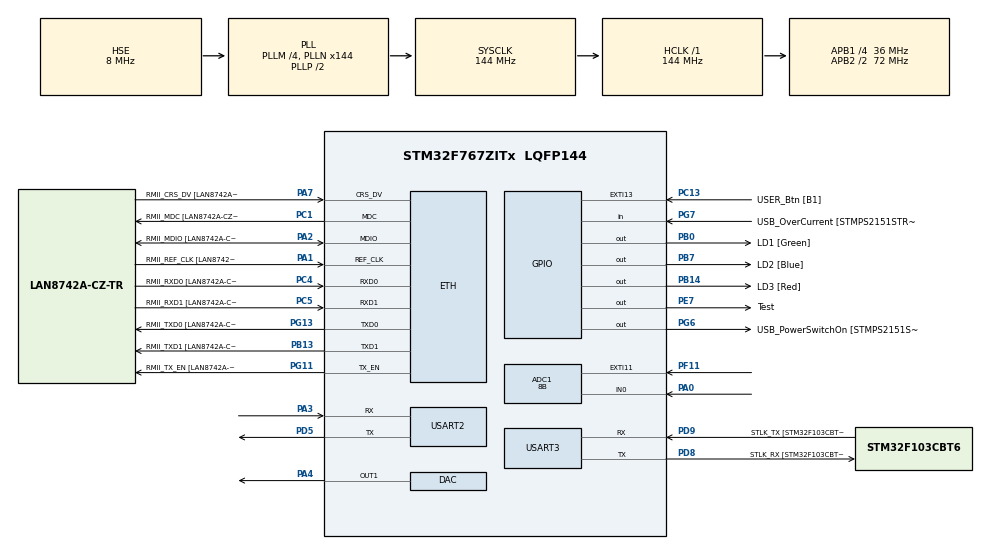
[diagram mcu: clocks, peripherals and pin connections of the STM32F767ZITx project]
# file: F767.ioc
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ADC1.Channel-0\#ChannelRegularConversion=ADC_CHANNEL_0
ADC1.ContinuousConvMode=DISABLE
ADC1.DMAContinuousRequests=ENABLE
ADC1.EOCSelection=ADC_EOC_SEQ_CONV
ADC1.ExternalTrigConv=ADC_EXTERNALTRIGCONV_T5_TRGO
ADC1.NbrOfConversion=1
ADC1.NbrOfConversionFlag=1
ADC1.Rank-0\#ChannelRegularConversion=1
ADC1.Resolution=ADC_RESOLUTION_8B
ADC1.SamplingTime-0\#ChannelRegularConversion=ADC_SAMPLETIME_3CYCLES
ADC1.ScanConvMode=ADC_SCAN_DISABLE
ADC1.master=1
Dma.ADC1.0.Direction=DMA_PERIPH_TO_MEMORY
Dma.ADC1.0.FIFOMode=DMA_FIFOMODE_DISABLE
Dma.ADC1.0.Instance=DMA2_Stream0
Dma.ADC1.0.MemDataAlignment=DMA_MDATAALIGN_HALFWORD
Dma.ADC1.0.MemInc=DMA_MINC_ENABLE
Dma.ADC1.0.Mode=DMA_CIRCULAR
Dma.ADC1.0.PeriphDataAlignment=DMA_PDATAALIGN_HALFWORD
Dma.ADC1.0.PeriphInc=DMA_PINC_DISABLE
Dma.ADC1.0.Priority=DMA_PRIORITY_MEDIUM
Dma.DAC1.1.Direction=DMA_MEMORY_TO_PERIPH
Dma.DAC1.1.FIFOMode=DMA_FIFOMODE_DISABLE
Dma.DAC1.1.Instance=DMA1_Stream5
Dma.DAC1.1.MemDataAlignment=DMA_MDATAALIGN_HALFWORD
Dma.DAC1.1.MemInc=DMA_MINC_ENABLE
Dma.DAC1.1.Mode=DMA_CIRCULAR
Dma.DAC1.1.PeriphDataAlignment=DMA_PDATAALIGN_HALFWORD
Dma.DAC1.1.PeriphInc=DMA_PINC_DISABLE
Dma.DAC1.1.Priority=DMA_PRIORITY_LOW
Dma.Request0=ADC1
Dma.Request1=DAC1
ETH.ETH_TX_DESC_CNT=12
ETH.MediaInterface=HAL_ETH_RMII_MODE
ETH.PHY_Name=LAN8742A_PHY_ADDRESS
ETH.PHY_Value=0
ETH.PhyAddress=0
ETH.RxMode=ETH_RXPOLLING_MODE
LWIP.BSP.number=1
LWIP.IP_ADDRESS=192.168.010.002
LWIP.LWIP_DHCP=0
LWIP.LWIP_TCP=0
LWIP.MEMP_NUM_TCP_PCB=0
LWIP.MEMP_NUM_UDP_PCB=1
LWIP.NETMASK_ADDRESS=255.255.255.000
LWIP.Version=v2.1.2_Cube
LWIP0.BSP.STBoard=false
LWIP0.BSP.api=BSP_COMPONENT_DRIVER
LWIP0.BSP.component=LAN8742
LWIP0.BSP.instance=LAN8742
LWIP0.BSP.name=Driver_PHY
LWIP0.BSP.semaphore=S_LAN8742
LWIP0.BSP.solution=LAN8742
Mcu.Family=STM32F7
Mcu.Name=STM32F767ZITx
Mcu.Package=LQFP144
NVIC.DMA1_Stream5_IRQn=true\:0\:0\:false\:false\:true\:false\:true\:true
NVIC.DMA2_Stream0_IRQn=true\:0\:0\:false\:false\:true\:false\:true\:true
NVIC.ETH_IRQn=true\:4\:0\:true\:false\:true\:true\:true\:true
NVIC.EXTI15_10_IRQn=true\:3\:0\:true\:false\:true\:true\:true\:true
NVIC.PriorityGroup=NVIC_PRIORITYGROUP_4
NVIC.TIM3_IRQn=true\:1\:0\:true\:false\:true\:true\:true\:true
PA0/WKUP.Signal=ADCx_IN0
PA1.GPIO_Label=RMII_REF_CLK [LAN8742A-CZ-TR_REFCLK0]
PA1.Mode=RMII
PA1.Signal=ETH_REF_CLK
PA10.GPIO_Label=USB_ID
PA10.Signal=USB_OTG_FS_ID
PA11.GPIO_Label=USB_DM
PA11.Signal=USB_OTG_FS_DM
PA12.GPIO_Label=USB_DP
PA12.Signal=USB_OTG_FS_DP
PA13.GPIO_Label=TMS
PA13.Mode=Serial_Wire
PA13.Signal=SYS_JTMS-SWDIO
PA14.GPIO_Label=TCK
PA14.Mode=Serial_Wire
PA14.Signal=SYS_JTCK-SWCLK
PA2.GPIO_Label=RMII_MDIO [LAN8742A-CZ-TR_MDIO]
PA2.Mode=RMII
PA2.Signal=ETH_MDIO
PA3.Mode=Asynchronous
PA3.Signal=USART2_RX
PA4.Signal=COMP_DAC1_group
PA7.GPIO_Label=RMII_CRS_DV [LAN8742A-CZ-TR_CRS_DV]
PA7.Mode=RMII
PA7.Signal=ETH_CRS_DV
PA8.GPIO_Label=USB_SOF [TP1]
PA8.Signal=USB_OTG_FS_SOF
PA9.GPIO_Label=USB_VBUS
PA9.Signal=USB_OTG_FS_VBUS
PB0.GPIO_Label=LD1 [Green]
PB0.Signal=GPIO_Output
PB13.GPIO_Label=RMII_TXD1 [LAN8742A-CZ-TR_TXD1]
PB13.Mode=RMII
PB13.Signal=ETH_TXD1
PB14.GPIO_Label=LD3 [Red]
PB14.Signal=GPIO_Output
PB3.GPIO_Label=SWO
PB3.Signal=SYS_JTDO-SWO
PB7.GPIO_Label=LD2 [Blue]
PB7.Signal=GPIO_Output
PC1.GPIO_Label=RMII_MDC [LAN8742A-CZ-TR_MDC]
PC1.Mode=RMII
PC1.Signal=ETH_MDC
PC13.GPIO_Label=USER_Btn [B1]
PC13.Signal=GPXTI13
PC14/OSC32_IN.Mode=LSE-External-Oscillator
PC14/OSC32_IN.Signal=RCC_OSC32_IN
PC15/OSC32_OUT.Mode=LSE-External-Oscillator
PC15/OSC32_OUT.Signal=RCC_OSC32_OUT
PC4.GPIO_Label=RMII_RXD0 [LAN8742A-CZ-TR_RXD0]
PC4.Mode=RMII
PC4.Signal=ETH_RXD0
PC5.GPIO_Label=RMII_RXD1 [LAN8742A-CZ-TR_RXD1]
PC5.Mode=RMII
PC5.Signal=ETH_RXD1
PD5.Mode=Asynchronous
PD5.Signal=USART2_TX
PD8.GPIO_Label=STLK_RX [STM32F103CBT6_PA3]
PD8.Mode=Asynchronous
PD8.Signal=USART3_TX
PD9.GPIO_Label=STLK_TX [STM32F103CBT6_PA2]
PD9.Mode=Asynchronous
PD9.Signal=USART3_RX
PE7.GPIO_Label=Test
PE7.GPIO_Speed=GPIO_SPEED_FREQ_VERY_HIGH
PE7.PinState=GPIO_PIN_SET
PE7.Signal=GPIO_Output
PF11.Signal=GPXTI11
PG11.GPIO_Label=RMII_TX_EN [LAN8742A-CZ-TR_TXEN]
PG11.Mode=RMII
PG11.Signal=ETH_TX_EN
PG13.GPIO_Label=RMII_TXD0 [LAN8742A-CZ-TR_TXD0]
PG13.Mode=RMII
PG13.Signal=ETH_TXD0
PG6.GPIO_Label=USB_PowerSwitchOn [STMPS2151STR_EN]
PG6.Signal=GPIO_Output
PG7.GPIO_Label=USB_OverCurrent [STMPS2151STR_FAULT]
PG7.Signal=GPIO_Input
PH0/OSC_IN.GPIO_Label=MCO [STM32F103CBT6_PA8]
PH0/OSC_IN.Mode=HSE-External-Clock-Source
PH0/OSC_IN.Signal=RCC_OSC_IN
PH1/OSC_OUT.Mode=HSE-External-Clock-Source
PH1/OSC_OUT.Signal=RCC_OSC_OUT
ProjectManager.HeapSize=0x200
ProjectManager.StackSize=0x400
ProjectManager.TargetToolchain=CMake
RCC.48MHZClocksFreq_Value=24000000
RCC.AHBFreq_Value=144000000
RCC.APB1CLKDivider=RCC_HCLK_DIV4
RCC.APB1Freq_Value=36000000
RCC.APB1TimFreq_Value=72000000
RCC.APB2CLKDivider=RCC_HCLK_DIV2
RCC.APB2Freq_Value=72000000
RCC.APB2TimFreq_Value=144000000
RCC.CortexFreq_Value=144000000
RCC.HCLKFreq_Value=144000000
RCC.HSE_VALUE=8000000
RCC.HSI_VALUE=16000000
RCC.PLLM=4
RCC.PLLMUL=RCC_PLL_MUL9
RCC.PLLN=144
RCC.PLLQ=9
RCC.PLLSourceVirtual=RCC_PLLSOURCE_HSE
RCC.PRESCALERUSB=RCC_USBCLKSOURCE_PLL_DIV1_5
RCC.SYSCLKFreq_VALUE=144000000
RCC.SYSCLKSource=RCC_SYSCLKSOURCE_PLLCLK
RCC.SYSCLKSourceVirtual=RCC_SYSCLKSOURCE_PLLCLK
RCC.USBFreq_Value=32000000
RCC.VCOOutputFreq_Value=288000000
SH.ADCx_IN0.0=ADC1_IN0,IN0
SH.COMP_DAC1_group.0=DAC_OUT1,DAC_OUT1
TIM3.Period=23999
TIM5.AutoReloadPreload=TIM_AUTORELOAD_PRELOAD_ENABLE
TIM5.Period=56
TIM5.TIM_MasterOutputTrigger=TIM_TRGO_UPDATE
TIM5.TIM_MasterSlaveMode=TIM_MASTERSLAVEMODE_ENABLE
USART2.VirtualMode-Asynchronous=VM_ASYNC
USART3.VirtualMode-Asynchronous=VM_ASYNC
VP_LWIP_VS_Enabled.Mode=Enabled
VP_TIM3_VS_ClockSourceINT.Mode=Internal
VP_TIM5_VS_ClockSourceINT.Mode=Internal
board=NUCLEO-F767ZI

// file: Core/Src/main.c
/* USER CODE BEGIN Header */
/**
  ******************************************************************************
  * @file           : main.c
  * @brief          : Main program body
  ******************************************************************************
  * @attention
  *
  * Copyright (c) 2025 STMicroelectronics.
  * All rights reserved.
  *
  * This software is licensed under terms that can be found in the LICENSE file
  * in the root directory of this software component.
  * If no LICENSE file comes with this software, it is provided AS-IS.
  *
  ******************************************************************************
  */
/* USER CODE END Header */
#include "main.h"
#include "lwip.h"

/* USER CODE BEGIN Includes */
#include "stm32f7xx_hal.h"
#include "stm32f7xx_hal_eth.h"
#include "stm32f7xx_hal_gpio.h"
#include "stm32f7xx_hal_tim.h"
#include "stm32f7xx_hal_tim_ex.h"
#include "string.h"
#include <stdio.h>

#include "user.hh"
/* USER CODE END Includes */

/* USER CODE BEGIN PD */
enum
{
  kAdcDmaChannels = 1,
  kAdcDmaSamplesPerChannel = 256,
  kAdcDmaHalfSamples = kAdcDmaChannels * kAdcDmaSamplesPerChannel,
  kAdcDmaSamples = kAdcDmaHalfSamples * 2
};

/* USER CODE END PD */

ADC_HandleTypeDef hadc1;
DMA_HandleTypeDef hdma_adc1;

DAC_HandleTypeDef hdac;
DMA_HandleTypeDef hdma_dac1;

TIM_HandleTypeDef htim3;
TIM_HandleTypeDef htim5;

UART_HandleTypeDef huart2;
UART_HandleTypeDef huart3;

/* USER CODE BEGIN PV */
static uint16_t g_adc_dma_buffer[kAdcDmaSamples];

/* USER CODE END PV */

void SystemClock_Config(void);
static void MX_GPIO_Init(void);
static void MX_DMA_Init(void);
static void MX_USART3_UART_Init(void);
static void MX_ADC1_Init(void);
static void MX_TIM5_Init(void);
static void MX_TIM3_Init(void);
static void MX_DAC_Init(void);
static void MX_USART2_UART_Init(void);

int main(void)
{

  /* MCU Configuration--------------------------------------------------------*/

  /* Reset of all peripherals, Initializes the Flash interface and the Systick. */
  HAL_Init();

  /* Configure the system clock */
  SystemClock_Config();

  /* Initialize all configured peripherals */
  MX_GPIO_Init();
  MX_DMA_Init();
  MX_USART3_UART_Init();
  MX_ADC1_Init();
  MX_TIM5_Init();
  MX_LWIP_Init();
  MX_TIM3_Init();
  MX_DAC_Init();
  MX_USART2_UART_Init();
  /* USER CODE BEGIN 2 */
  UserCppInit(g_adc_dma_buffer, kAdcDmaSamples);

  /* USER CODE END 2 */

  /* Infinite loop */
  /* USER CODE BEGIN WHILE */
  while (1)
  {
    MX_LWIP_Process();
    UserCppProcess();

    /* USER CODE END WHILE */

  }
}

void SystemClock_Config(void)
{
  RCC_OscInitTypeDef RCC_OscInitStruct = {0};
  RCC_ClkInitTypeDef RCC_ClkInitStruct = {0};

  /** Configure LSE Drive Capability
  */
  HAL_PWR_EnableBkUpAccess();

  /** Configure the main internal regulator output voltage
  */
  __HAL_RCC_PWR_CLK_ENABLE();
  __HAL_PWR_VOLTAGESCALING_CONFIG(PWR_REGULATOR_VOLTAGE_SCALE3);

  /** Initializes the RCC Oscillators according to the specified parameters
  * in the RCC_OscInitTypeDef structure.
  */
  RCC_OscInitStruct.OscillatorType = RCC_OSCILLATORTYPE_HSE;
  RCC_OscInitStruct.HSEState = RCC_HSE_BYPASS;
  RCC_OscInitStruct.PLL.PLLState = RCC_PLL_ON;
  RCC_OscInitStruct.PLL.PLLSource = RCC_PLLSOURCE_HSE;
  RCC_OscInitStruct.PLL.PLLM = 4;
  RCC_OscInitStruct.PLL.PLLN = 144;
  RCC_OscInitStruct.PLL.PLLP = RCC_PLLP_DIV2;
  RCC_OscInitStruct.PLL.PLLQ = 9;
  RCC_OscInitStruct.PLL.PLLR = 2;
  if (HAL_RCC_OscConfig(&RCC_OscInitStruct) != HAL_OK)
  {
    Error_Handler();
  }

  /** Initializes the CPU, AHB and APB buses clocks
  */
  RCC_ClkInitStruct.ClockType = RCC_CLOCKTYPE_HCLK|RCC_CLOCKTYPE_SYSCLK
                              |RCC_CLOCKTYPE_PCLK1|RCC_CLOCKTYPE_PCLK2;
  RCC_ClkInitStruct.SYSCLKSource = RCC_SYSCLKSOURCE_PLLCLK;
  RCC_ClkInitStruct.AHBCLKDivider = RCC_SYSCLK_DIV1;
  RCC_ClkInitStruct.APB1CLKDivider = RCC_HCLK_DIV4;
  RCC_ClkInitStruct.APB2CLKDivider = RCC_HCLK_DIV2;

  if (HAL_RCC_ClockConfig(&RCC_ClkInitStruct, FLASH_LATENCY_4) != HAL_OK)
  {
    Error_Handler();
  }
}

static void MX_ADC1_Init(void)
{

  ADC_ChannelConfTypeDef sConfig = {0};

  /** Configure the global features of the ADC (Clock, Resolution, Data Alignment and number of conversion)
  */
  hadc1.Instance = ADC1;
  hadc1.Init.ClockPrescaler = ADC_CLOCK_SYNC_PCLK_DIV2;
  hadc1.Init.Resolution = ADC_RESOLUTION_8B;
  hadc1.Init.ScanConvMode = ADC_SCAN_DISABLE;
  hadc1.Init.ContinuousConvMode = DISABLE;
  hadc1.Init.DiscontinuousConvMode = DISABLE;
  hadc1.Init.ExternalTrigConvEdge = ADC_EXTERNALTRIGCONVEDGE_RISING;
  hadc1.Init.ExternalTrigConv = ADC_EXTERNALTRIGCONV_T5_TRGO;
  hadc1.Init.DataAlign = ADC_DATAALIGN_RIGHT;
  hadc1.Init.NbrOfConversion = 1;
  hadc1.Init.DMAContinuousRequests = ENABLE;
  hadc1.Init.EOCSelection = ADC_EOC_SEQ_CONV;
  if (HAL_ADC_Init(&hadc1) != HAL_OK)
  {
    Error_Handler();
  }

  /** Configure for the selected ADC regular channel its corresponding rank in the sequencer and its sample time.
  */
  sConfig.Channel = ADC_CHANNEL_0;
  sConfig.Rank = ADC_REGULAR_RANK_1;
  sConfig.SamplingTime = ADC_SAMPLETIME_3CYCLES;
  if (HAL_ADC_ConfigChannel(&hadc1, &sConfig) != HAL_OK)
  {
    Error_Handler();
  }

}

static void MX_DAC_Init(void)
{

  DAC_ChannelConfTypeDef sConfig = {0};

  /** DAC Initialization
  */
  hdac.Instance = DAC;
  if (HAL_DAC_Init(&hdac) != HAL_OK)
  {
    Error_Handler();
  }

  /** DAC channel OUT1 config
  */
  sConfig.DAC_Trigger = DAC_TRIGGER_NONE;
  sConfig.DAC_OutputBuffer = DAC_OUTPUTBUFFER_ENABLE;
  if (HAL_DAC_ConfigChannel(&hdac, &sConfig, DAC_CHANNEL_1) != HAL_OK)
  {
    Error_Handler();
  }

}

static void MX_TIM3_Init(void)
{

  TIM_ClockConfigTypeDef sClockSourceConfig = {0};
  TIM_MasterConfigTypeDef sMasterConfig = {0};

  htim3.Instance = TIM3;
  htim3.Init.Prescaler = 0;
  htim3.Init.CounterMode = TIM_COUNTERMODE_UP;
  htim3.Init.Period = 23999;
  htim3.Init.ClockDivision = TIM_CLOCKDIVISION_DIV1;
  htim3.Init.AutoReloadPreload = TIM_AUTORELOAD_PRELOAD_DISABLE;
  if (HAL_TIM_Base_Init(&htim3) != HAL_OK)
  {
    Error_Handler();
  }
  sClockSourceConfig.ClockSource = TIM_CLOCKSOURCE_INTERNAL;
  if (HAL_TIM_ConfigClockSource(&htim3, &sClockSourceConfig) != HAL_OK)
  {
    Error_Handler();
  }
  sMasterConfig.MasterOutputTrigger = TIM_TRGO_RESET;
  sMasterConfig.MasterSlaveMode = TIM_MASTERSLAVEMODE_DISABLE;
  if (HAL_TIMEx_MasterConfigSynchronization(&htim3, &sMasterConfig) != HAL_OK)
  {
    Error_Handler();
  }

}

static void MX_TIM5_Init(void)
{

  TIM_ClockConfigTypeDef sClockSourceConfig = {0};
  TIM_MasterConfigTypeDef sMasterConfig = {0};

  htim5.Instance = TIM5;
  htim5.Init.Prescaler = 0;
  htim5.Init.CounterMode = TIM_COUNTERMODE_UP;
  htim5.Init.Period = 56;
  htim5.Init.ClockDivision = TIM_CLOCKDIVISION_DIV1;
  htim5.Init.AutoReloadPreload = TIM_AUTORELOAD_PRELOAD_ENABLE;
  if (HAL_TIM_Base_Init(&htim5) != HAL_OK)
  {
    Error_Handler();
  }
  sClockSourceConfig.ClockSource = TIM_CLOCKSOURCE_INTERNAL;
  if (HAL_TIM_ConfigClockSource(&htim5, &sClockSourceConfig) != HAL_OK)
  {
    Error_Handler();
  }
  sMasterConfig.MasterOutputTrigger = TIM_TRGO_UPDATE;
  sMasterConfig.MasterSlaveMode = TIM_MASTERSLAVEMODE_ENABLE;
  if (HAL_TIMEx_MasterConfigSynchronization(&htim5, &sMasterConfig) != HAL_OK)
  {
    Error_Handler();
  }

}

static void MX_USART2_UART_Init(void)
{

  huart2.Instance = USART2;
  huart2.Init.BaudRate = 115200;
  huart2.Init.WordLength = UART_WORDLENGTH_8B;
  huart2.Init.StopBits = UART_STOPBITS_1;
  huart2.Init.Parity = UART_PARITY_NONE;
  huart2.Init.Mode = UART_MODE_TX_RX;
  huart2.Init.HwFlowCtl = UART_HWCONTROL_NONE;
  huart2.Init.OverSampling = UART_OVERSAMPLING_16;
  huart2.Init.OneBitSampling = UART_ONE_BIT_SAMPLE_DISABLE;
  huart2.AdvancedInit.AdvFeatureInit = UART_ADVFEATURE_NO_INIT;
  if (HAL_UART_Init(&huart2) != HAL_OK)
  {
    Error_Handler();
  }

}

static void MX_USART3_UART_Init(void)
{

  huart3.Instance = USART3;
  huart3.Init.BaudRate = 115200;
  huart3.Init.WordLength = UART_WORDLENGTH_8B;
  huart3.Init.StopBits = UART_STOPBITS_1;
  huart3.Init.Parity = UART_PARITY_NONE;
  huart3.Init.Mode = UART_MODE_TX_RX;
  huart3.Init.HwFlowCtl = UART_HWCONTROL_NONE;
  huart3.Init.OverSampling = UART_OVERSAMPLING_16;
  huart3.Init.OneBitSampling = UART_ONE_BIT_SAMPLE_DISABLE;
  huart3.AdvancedInit.AdvFeatureInit = UART_ADVFEATURE_NO_INIT;
  if (HAL_UART_Init(&huart3) != HAL_OK)
  {
    Error_Handler();
  }

}

static void MX_DMA_Init(void)
{

  /* DMA controller clock enable */
  __HAL_RCC_DMA2_CLK_ENABLE();
  __HAL_RCC_DMA1_CLK_ENABLE();

  /* DMA interrupt init */
  /* DMA1_Stream5_IRQn interrupt configuration */
  HAL_NVIC_SetPriority(DMA1_Stream5_IRQn, 0, 0);
  HAL_NVIC_EnableIRQ(DMA1_Stream5_IRQn);
  /* DMA2_Stream0_IRQn interrupt configuration */
  HAL_NVIC_SetPriority(DMA2_Stream0_IRQn, 0, 0);
  HAL_NVIC_EnableIRQ(DMA2_Stream0_IRQn);

}

static void MX_GPIO_Init(void)
{
  GPIO_InitTypeDef GPIO_InitStruct = {0};

  /* GPIO Ports Clock Enable */
  __HAL_RCC_GPIOC_CLK_ENABLE();
  __HAL_RCC_GPIOH_CLK_ENABLE();
  __HAL_RCC_GPIOA_CLK_ENABLE();
  __HAL_RCC_GPIOB_CLK_ENABLE();
  __HAL_RCC_GPIOF_CLK_ENABLE();
  __HAL_RCC_GPIOE_CLK_ENABLE();
  __HAL_RCC_GPIOD_CLK_ENABLE();
  __HAL_RCC_GPIOG_CLK_ENABLE();

  /*Configure GPIO pin Output Level */
  HAL_GPIO_WritePin(GPIOB, LD1_Pin|LD3_Pin|LD2_Pin, GPIO_PIN_RESET);

  /*Configure GPIO pin Output Level */
  HAL_GPIO_WritePin(Test_GPIO_Port, Test_Pin, GPIO_PIN_SET);

  /*Configure GPIO pin Output Level */
  HAL_GPIO_WritePin(USB_PowerSwitchOn_GPIO_Port, USB_PowerSwitchOn_Pin, GPIO_PIN_RESET);

  /*Configure GPIO pin : USER_Btn_Pin */
  GPIO_InitStruct.Pin = USER_Btn_Pin;
  GPIO_InitStruct.Mode = GPIO_MODE_IT_RISING;
  GPIO_InitStruct.Pull = GPIO_NOPULL;
  HAL_GPIO_Init(USER_Btn_GPIO_Port, &GPIO_InitStruct);

  /*Configure GPIO pins : LD1_Pin LD3_Pin LD2_Pin */
  GPIO_InitStruct.Pin = LD1_Pin|LD3_Pin|LD2_Pin;
  GPIO_InitStruct.Mode = GPIO_MODE_OUTPUT_PP;
  GPIO_InitStruct.Pull = GPIO_NOPULL;
  GPIO_InitStruct.Speed = GPIO_SPEED_FREQ_LOW;
  HAL_GPIO_Init(GPIOB, &GPIO_InitStruct);

  /*Configure GPIO pin : PF11 */
  GPIO_InitStruct.Pin = GPIO_PIN_11;
  GPIO_InitStruct.Mode = GPIO_MODE_IT_RISING;
  GPIO_InitStruct.Pull = GPIO_NOPULL;
  HAL_GPIO_Init(GPIOF, &GPIO_InitStruct);

  /*Configure GPIO pin : Test_Pin */
  GPIO_InitStruct.Pin = Test_Pin;
  GPIO_InitStruct.Mode = GPIO_MODE_OUTPUT_PP;
  GPIO_InitStruct.Pull = GPIO_NOPULL;
  GPIO_InitStruct.Speed = GPIO_SPEED_FREQ_VERY_HIGH;
  HAL_GPIO_Init(Test_GPIO_Port, &GPIO_InitStruct);

  /*Configure GPIO pin : USB_PowerSwitchOn_Pin */
  GPIO_InitStruct.Pin = USB_PowerSwitchOn_Pin;
  GPIO_InitStruct.Mode = GPIO_MODE_OUTPUT_PP;
  GPIO_InitStruct.Pull = GPIO_NOPULL;
  GPIO_InitStruct.Speed = GPIO_SPEED_FREQ_LOW;
  HAL_GPIO_Init(USB_PowerSwitchOn_GPIO_Port, &GPIO_InitStruct);

  /*Configure GPIO pin : USB_OverCurrent_Pin */
  GPIO_InitStruct.Pin = USB_OverCurrent_Pin;
  GPIO_InitStruct.Mode = GPIO_MODE_INPUT;
  GPIO_InitStruct.Pull = GPIO_NOPULL;
  HAL_GPIO_Init(USB_OverCurrent_GPIO_Port, &GPIO_InitStruct);

  /*Configure GPIO pins : USB_SOF_Pin USB_ID_Pin USB_DM_Pin USB_DP_Pin */
  GPIO_InitStruct.Pin = USB_SOF_Pin|USB_ID_Pin|USB_DM_Pin|USB_DP_Pin;
  GPIO_InitStruct.Mode = GPIO_MODE_AF_PP;
  GPIO_InitStruct.Pull = GPIO_NOPULL;
  GPIO_InitStruct.Speed = GPIO_SPEED_FREQ_VERY_HIGH;
  GPIO_InitStruct.Alternate = GPIO_AF10_OTG_FS;
  HAL_GPIO_Init(GPIOA, &GPIO_InitStruct);

  /*Configure GPIO pin : USB_VBUS_Pin */
  GPIO_InitStruct.Pin = USB_VBUS_Pin;
  GPIO_InitStruct.Mode = GPIO_MODE_INPUT;
  GPIO_InitStruct.Pull = GPIO_NOPULL;
  HAL_GPIO_Init(USB_VBUS_GPIO_Port, &GPIO_InitStruct);

  /* EXTI interrupt init*/
  HAL_NVIC_SetPriority(EXTI15_10_IRQn, 3, 0);
  HAL_NVIC_EnableIRQ(EXTI15_10_IRQn);

}

/* USER CODE BEGIN 4 */
// void HAL_ETH_RxCpltCallback(ETH_HandleTypeDef *heth){
//   printf("ethernet pinged!\n");
// }
/* USER CODE END 4 */

void Error_Handler(void)
{
  __disable_irq();
  while (1)
  {
  }
}
